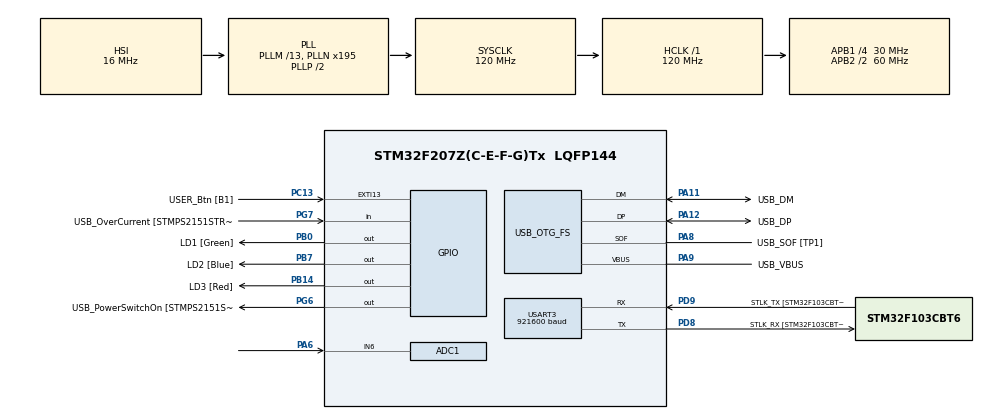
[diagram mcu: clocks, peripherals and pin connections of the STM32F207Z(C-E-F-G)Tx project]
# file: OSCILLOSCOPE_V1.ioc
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ADC1.Channel-0\#ChannelRegularConversion=ADC_CHANNEL_6
ADC1.DMAContinuousRequests=ENABLE
ADC1.ExternalTrigConv=ADC_EXTERNALTRIGCONV_T2_TRGO
ADC1.NbrOfConversionFlag=1
ADC1.Rank-0\#ChannelRegularConversion=1
ADC1.Resolution=ADC_RESOLUTION_12B
ADC1.SamplingTime-0\#ChannelRegularConversion=ADC_SAMPLETIME_3CYCLES
ADC1.master=1
Dma.ADC1.0.Direction=DMA_PERIPH_TO_MEMORY
Dma.ADC1.0.FIFOMode=DMA_FIFOMODE_DISABLE
Dma.ADC1.0.Instance=DMA2_Stream0
Dma.ADC1.0.MemDataAlignment=DMA_MDATAALIGN_HALFWORD
Dma.ADC1.0.MemInc=DMA_MINC_ENABLE
Dma.ADC1.0.Mode=DMA_CIRCULAR
Dma.ADC1.0.PeriphDataAlignment=DMA_PDATAALIGN_HALFWORD
Dma.ADC1.0.PeriphInc=DMA_PINC_DISABLE
Dma.ADC1.0.Priority=DMA_PRIORITY_LOW
Dma.Request0=ADC1
Dma.Request1=USART3_TX
Dma.USART3_TX.1.Direction=DMA_MEMORY_TO_PERIPH
Dma.USART3_TX.1.FIFOMode=DMA_FIFOMODE_DISABLE
Dma.USART3_TX.1.Instance=DMA1_Stream3
Dma.USART3_TX.1.MemDataAlignment=DMA_MDATAALIGN_BYTE
Dma.USART3_TX.1.MemInc=DMA_MINC_ENABLE
Dma.USART3_TX.1.Mode=DMA_NORMAL
Dma.USART3_TX.1.PeriphDataAlignment=DMA_PDATAALIGN_BYTE
Dma.USART3_TX.1.PeriphInc=DMA_PINC_DISABLE
Dma.USART3_TX.1.Priority=DMA_PRIORITY_LOW
Mcu.Family=STM32F2
Mcu.Name=STM32F207Z(C-E-F-G)Tx
Mcu.Package=LQFP144
NVIC.DMA1_Stream3_IRQn=true\:0\:0\:false\:false\:true\:false\:true\:true
NVIC.DMA2_Stream0_IRQn=true\:0\:0\:false\:false\:true\:false\:true\:true
NVIC.PriorityGroup=NVIC_PRIORITYGROUP_4
NVIC.USART3_IRQn=true\:0\:0\:false\:false\:true\:true\:true\:true
PA1.GPIO_Label=RMII_REF_CLK [LAN8742A-CZ-TR_REFCLK0]
PA1.Signal=ETH_REF_CLK
PA10.GPIO_Label=USB_ID
PA10.Signal=USB_OTG_FS_ID
PA11.GPIO_Label=USB_DM
PA11.Mode=Device_Only
PA11.Signal=USB_OTG_FS_DM
PA12.GPIO_Label=USB_DP
PA12.Mode=Device_Only
PA12.Signal=USB_OTG_FS_DP
PA13.GPIO_Label=TMS
PA13.Mode=Serial_Wire
PA13.Signal=SYS_JTMS-SWDIO
PA14.GPIO_Label=TCK
PA14.Mode=Serial_Wire
PA14.Signal=SYS_JTCK-SWCLK
PA2.GPIO_Label=RMII_MDIO [LAN8742A-CZ-TR_MDIO]
PA2.Signal=ETH_MDIO
PA6.Signal=ADCx_IN6
PA7.GPIO_Label=RMII_CRS_DV [LAN8742A-CZ-TR_CRS_DV]
PA7.Signal=ETH_CRS_DV
PA8.GPIO_Label=USB_SOF [TP1]
PA8.Mode=Activate_SOF_FS
PA8.Signal=USB_OTG_FS_SOF
PA9.GPIO_Label=USB_VBUS
PA9.Mode=Activate_VBUS
PA9.Signal=USB_OTG_FS_VBUS
PB0.GPIO_Label=LD1 [Green]
PB0.Signal=GPIO_Output
PB13.GPIO_Label=RMII_TXD1 [LAN8742A-CZ-TR_TXD1]
PB13.Signal=ETH_TXD1
PB14.GPIO_Label=LD3 [Red]
PB14.Signal=GPIO_Output
PB3.GPIO_Label=SWO
PB3.Signal=SYS_JTDO-SWO
PB7.GPIO_Label=LD2 [Blue]
PB7.Signal=GPIO_Output
PC1.GPIO_Label=RMII_MDC [LAN8742A-CZ-TR_MDC]
PC1.Signal=ETH_MDC
PC13.GPIO_Label=USER_Btn [B1]
PC13.Signal=GPXTI13
PC14-OSC32_IN.Mode=LSE-External-Oscillator
PC14-OSC32_IN.Signal=RCC_OSC32_IN
PC15-OSC32_OUT.Mode=LSE-External-Oscillator
PC15-OSC32_OUT.Signal=RCC_OSC32_OUT
PC4.GPIO_Label=RMII_RXD0 [LAN8742A-CZ-TR_RXD0]
PC4.Signal=ETH_RXD0
PC5.GPIO_Label=RMII_RXD1 [LAN8742A-CZ-TR_RXD1]
PC5.Signal=ETH_RXD1
PD8.GPIO_Label=STLK_RX [STM32F103CBT6_PA2]
PD8.Mode=Asynchronous
PD8.Signal=USART3_TX
PD9.GPIO_Label=STLK_TX [STM32F103CBT6_PA3]
PD9.Mode=Asynchronous
PD9.Signal=USART3_RX
PG11.GPIO_Label=RMII_TX_EN [LAN8742A-CZ-TR_TXEN]
PG11.Signal=ETH_TX_EN
PG13.GPIO_Label=RMII_TXD0 [LAN8742A-CZ-TR_TXD0]
PG13.Signal=ETH_TXD0
PG6.GPIO_Label=USB_PowerSwitchOn [STMPS2151STR_EN]
PG6.Signal=GPIO_Output
PG7.GPIO_Label=USB_OverCurrent [STMPS2151STR_FAULT]
PG7.Signal=GPIO_Input
PH0-OSC_IN.GPIO_Label=MCO [STM32F103CBT6_PA8]
PH0-OSC_IN.Mode=HSE-External-Clock-Source
PH0-OSC_IN.Signal=RCC_OSC_IN
PH1-OSC_OUT.Mode=HSE-External-Clock-Source
PH1-OSC_OUT.Signal=RCC_OSC_OUT
ProjectManager.HeapSize=0x200
ProjectManager.StackSize=0x400
ProjectManager.TargetToolchain=STM32CubeIDE
RCC.48MHZClocksFreq_Value=48000000
RCC.AHBFreq_Value=120000000
RCC.APB1CLKDivider=RCC_HCLK_DIV4
RCC.APB1Freq_Value=30000000
RCC.APB1TimFreq_Value=60000000
RCC.APB2CLKDivider=RCC_HCLK_DIV2
RCC.APB2Freq_Value=60000000
RCC.APB2TimFreq_Value=120000000
RCC.CortexFreq_Value=120000000
RCC.HCLKFreq_Value=120000000
RCC.HSE_VALUE=8000000
RCC.HSI_VALUE=16000000
RCC.PLLM=13
RCC.PLLMUL=RCC_PLL_MUL9
RCC.PLLN=195
RCC.PLLQ=5
RCC.PRESCALERUSB=RCC_USBCLKSOURCE_PLL_DIV1_5
RCC.SYSCLKFreq_VALUE=120000000
RCC.SYSCLKSource=RCC_SYSCLKSOURCE_PLLCLK
RCC.SYSCLKSourceVirtual=RCC_SYSCLKSOURCE_PLLCLK
RCC.USBFreq_Value=48000000
RCC.VCOOutputFreq_Value=240000000
SH.ADCx_IN6.0=ADC1_IN6,IN6
TIM2.Period=29
TIM2.TIM_MasterOutputTrigger=TIM_TRGO_UPDATE
USART3.BaudRate=921600
USART3.VirtualMode=VM_ASYNC
USB_OTG_FS.VirtualMode=Device_Only
VP_TIM2_VS_ClockSourceINT.Mode=Internal
board=NUCLEO-F207ZG

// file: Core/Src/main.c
/* USER CODE BEGIN Header */
/**
  ******************************************************************************
  * @file           : main.c
  * @brief          : Main program body
  ******************************************************************************
  * @attention
  *
  * Copyright (c) 2026 STMicroelectronics.
  * All rights reserved.
  *
  * This software is licensed under terms that can be found in the LICENSE file
  * in the root directory of this software component.
  * If no LICENSE file comes with this software, it is provided AS-IS.
  *
  ******************************************************************************
  */
/* USER CODE END Header */
#include "main.h"

/* USER CODE BEGIN PD */
#define ADC_BUFFER_SIZE 16384
#define SEND_SAMPLES    4096
#define TRIGGER_LEVEL 	700
#define PRE_TRIGGER 	1024
#define TRIGGER_HYST    20

/* USER CODE END PD */

ADC_HandleTypeDef hadc1;
DMA_HandleTypeDef hdma_adc1;

TIM_HandleTypeDef htim2;

UART_HandleTypeDef huart3;
DMA_HandleTypeDef hdma_usart3_tx;

PCD_HandleTypeDef hpcd_USB_OTG_FS;

/* USER CODE BEGIN PV */

uint16_t adcBuffer[ADC_BUFFER_SIZE];
uint8_t uartBuffer[SEND_SAMPLES * 2 + 2];
uint16_t capture[SEND_SAMPLES];
volatile uint8_t adcReady = 0;
volatile uint8_t adcBlock = 0;

/* USER CODE END PV */

void SystemClock_Config(void);
static void MX_GPIO_Init(void);
static void MX_DMA_Init(void);
static void MX_USART3_UART_Init(void);
static void MX_USB_OTG_FS_PCD_Init(void);
static void MX_ADC1_Init(void);
static void MX_TIM2_Init(void);
/* USER CODE BEGIN PFP */
int Find_Trigger(void);
void Send_ADC_Buffer(int trigger);
/* USER CODE END PFP */

int main(void)
{

  /* MCU Configuration--------------------------------------------------------*/

  /* Reset of all peripherals, Initializes the Flash interface and the Systick. */
  HAL_Init();

  /* Configure the system clock */
  SystemClock_Config();

  /* Initialize all configured peripherals */
  MX_GPIO_Init();
  MX_DMA_Init();
  MX_USART3_UART_Init();
  MX_USB_OTG_FS_PCD_Init();
  MX_ADC1_Init();
  MX_TIM2_Init();
  /* USER CODE BEGIN 2 */
  HAL_ADC_Start_DMA(&hadc1,
                    (uint32_t*)adcBuffer,
                    ADC_BUFFER_SIZE);

  HAL_TIM_Base_Start(&htim2);
  /* USER CODE END 2 */

  /* Infinite loop */
  /* USER CODE BEGIN WHILE */
  while (1)
  {
	  if(adcReady)
	      {
	          adcReady = 0;

	          int trigger;

	          trigger = Find_Trigger();

	          if(trigger >= 0)
	          {
	              Send_ADC_Buffer(trigger);
	          }

	          static uint32_t led_timer = 0;
	          if(HAL_GetTick() - led_timer >= 500)
	          {
	              led_timer = HAL_GetTick();
	              HAL_GPIO_TogglePin(LD1_GPIO_Port, LD1_Pin);
	          }
	      }
    /* USER CODE END WHILE */

  }
}

void SystemClock_Config(void)
{
  RCC_OscInitTypeDef RCC_OscInitStruct = {0};
  RCC_ClkInitTypeDef RCC_ClkInitStruct = {0};

  /** Initializes the RCC Oscillators according to the specified parameters
  * in the RCC_OscInitTypeDef structure.
  */
  RCC_OscInitStruct.OscillatorType = RCC_OSCILLATORTYPE_HSI;
  RCC_OscInitStruct.HSIState = RCC_HSI_ON;
  RCC_OscInitStruct.HSICalibrationValue = RCC_HSICALIBRATION_DEFAULT;
  RCC_OscInitStruct.PLL.PLLState = RCC_PLL_ON;
  RCC_OscInitStruct.PLL.PLLSource = RCC_PLLSOURCE_HSI;
  RCC_OscInitStruct.PLL.PLLM = 13;
  RCC_OscInitStruct.PLL.PLLN = 195;
  RCC_OscInitStruct.PLL.PLLP = RCC_PLLP_DIV2;
  RCC_OscInitStruct.PLL.PLLQ = 5;
  if (HAL_RCC_OscConfig(&RCC_OscInitStruct) != HAL_OK)
  {
    Error_Handler();
  }

  /** Initializes the CPU, AHB and APB buses clocks
  */
  RCC_ClkInitStruct.ClockType = RCC_CLOCKTYPE_HCLK|RCC_CLOCKTYPE_SYSCLK
                              |RCC_CLOCKTYPE_PCLK1|RCC_CLOCKTYPE_PCLK2;
  RCC_ClkInitStruct.SYSCLKSource = RCC_SYSCLKSOURCE_PLLCLK;
  RCC_ClkInitStruct.AHBCLKDivider = RCC_SYSCLK_DIV1;
  RCC_ClkInitStruct.APB1CLKDivider = RCC_HCLK_DIV4;
  RCC_ClkInitStruct.APB2CLKDivider = RCC_HCLK_DIV2;

  if (HAL_RCC_ClockConfig(&RCC_ClkInitStruct, FLASH_LATENCY_3) != HAL_OK)
  {
    Error_Handler();
  }
}

static void MX_ADC1_Init(void)
{

  ADC_ChannelConfTypeDef sConfig = {0};

  /** Configure the global features of the ADC (Clock, Resolution, Data Alignment and number of conversion)
  */
  hadc1.Instance = ADC1;
  hadc1.Init.ClockPrescaler = ADC_CLOCK_SYNC_PCLK_DIV2;
  hadc1.Init.Resolution = ADC_RESOLUTION_12B;
  hadc1.Init.ScanConvMode = DISABLE;
  hadc1.Init.ContinuousConvMode = DISABLE;
  hadc1.Init.DiscontinuousConvMode = DISABLE;
  hadc1.Init.ExternalTrigConvEdge = ADC_EXTERNALTRIGCONVEDGE_RISING;
  hadc1.Init.ExternalTrigConv = ADC_EXTERNALTRIGCONV_T2_TRGO;
  hadc1.Init.DataAlign = ADC_DATAALIGN_RIGHT;
  hadc1.Init.NbrOfConversion = 1;
  hadc1.Init.DMAContinuousRequests = ENABLE;
  hadc1.Init.EOCSelection = ADC_EOC_SINGLE_CONV;
  if (HAL_ADC_Init(&hadc1) != HAL_OK)
  {
    Error_Handler();
  }

  /** Configure for the selected ADC regular channel its corresponding rank in the sequencer and its sample time.
  */
  sConfig.Channel = ADC_CHANNEL_6;
  sConfig.Rank = 1;
  sConfig.SamplingTime = ADC_SAMPLETIME_3CYCLES;
  if (HAL_ADC_ConfigChannel(&hadc1, &sConfig) != HAL_OK)
  {
    Error_Handler();
  }

}

static void MX_TIM2_Init(void)
{

  TIM_ClockConfigTypeDef sClockSourceConfig = {0};
  TIM_MasterConfigTypeDef sMasterConfig = {0};

  htim2.Instance = TIM2;
  htim2.Init.Prescaler = 0;
  htim2.Init.CounterMode = TIM_COUNTERMODE_UP;
  htim2.Init.Period = 29;
  htim2.Init.ClockDivision = TIM_CLOCKDIVISION_DIV1;
  htim2.Init.AutoReloadPreload = TIM_AUTORELOAD_PRELOAD_DISABLE;
  if (HAL_TIM_Base_Init(&htim2) != HAL_OK)
  {
    Error_Handler();
  }
  sClockSourceConfig.ClockSource = TIM_CLOCKSOURCE_INTERNAL;
  if (HAL_TIM_ConfigClockSource(&htim2, &sClockSourceConfig) != HAL_OK)
  {
    Error_Handler();
  }
  sMasterConfig.MasterOutputTrigger = TIM_TRGO_UPDATE;
  sMasterConfig.MasterSlaveMode = TIM_MASTERSLAVEMODE_DISABLE;
  if (HAL_TIMEx_MasterConfigSynchronization(&htim2, &sMasterConfig) != HAL_OK)
  {
    Error_Handler();
  }

}

static void MX_USART3_UART_Init(void)
{

  huart3.Instance = USART3;
  huart3.Init.BaudRate = 921600;
  huart3.Init.WordLength = UART_WORDLENGTH_8B;
  huart3.Init.StopBits = UART_STOPBITS_1;
  huart3.Init.Parity = UART_PARITY_NONE;
  huart3.Init.Mode = UART_MODE_TX_RX;
  huart3.Init.HwFlowCtl = UART_HWCONTROL_NONE;
  huart3.Init.OverSampling = UART_OVERSAMPLING_16;
  if (HAL_UART_Init(&huart3) != HAL_OK)
  {
    Error_Handler();
  }

}

static void MX_USB_OTG_FS_PCD_Init(void)
{

  hpcd_USB_OTG_FS.Instance = USB_OTG_FS;
  hpcd_USB_OTG_FS.Init.dev_endpoints = 4;
  hpcd_USB_OTG_FS.Init.speed = PCD_SPEED_FULL;
  hpcd_USB_OTG_FS.Init.dma_enable = DISABLE;
  hpcd_USB_OTG_FS.Init.phy_itface = PCD_PHY_EMBEDDED;
  hpcd_USB_OTG_FS.Init.Sof_enable = ENABLE;
  hpcd_USB_OTG_FS.Init.low_power_enable = DISABLE;
  hpcd_USB_OTG_FS.Init.vbus_sensing_enable = ENABLE;
  hpcd_USB_OTG_FS.Init.use_dedicated_ep1 = DISABLE;
  if (HAL_PCD_Init(&hpcd_USB_OTG_FS) != HAL_OK)
  {
    Error_Handler();
  }

}

static void MX_DMA_Init(void)
{

  /* DMA controller clock enable */
  __HAL_RCC_DMA2_CLK_ENABLE();
  __HAL_RCC_DMA1_CLK_ENABLE();

  /* DMA interrupt init */
  /* DMA1_Stream3_IRQn interrupt configuration */
  HAL_NVIC_SetPriority(DMA1_Stream3_IRQn, 0, 0);
  HAL_NVIC_EnableIRQ(DMA1_Stream3_IRQn);
  /* DMA2_Stream0_IRQn interrupt configuration */
  HAL_NVIC_SetPriority(DMA2_Stream0_IRQn, 0, 0);
  HAL_NVIC_EnableIRQ(DMA2_Stream0_IRQn);

}

static void MX_GPIO_Init(void)
{
  GPIO_InitTypeDef GPIO_InitStruct = {0};

  /* GPIO Ports Clock Enable */
  __HAL_RCC_GPIOC_CLK_ENABLE();
  __HAL_RCC_GPIOH_CLK_ENABLE();
  __HAL_RCC_GPIOA_CLK_ENABLE();
  __HAL_RCC_GPIOB_CLK_ENABLE();
  __HAL_RCC_GPIOD_CLK_ENABLE();
  __HAL_RCC_GPIOG_CLK_ENABLE();

  /*Configure GPIO pin Output Level */
  HAL_GPIO_WritePin(GPIOB, LD1_Pin|LD3_Pin|LD2_Pin, GPIO_PIN_RESET);

  /*Configure GPIO pin Output Level */
  HAL_GPIO_WritePin(USB_PowerSwitchOn_GPIO_Port, USB_PowerSwitchOn_Pin, GPIO_PIN_RESET);

  /*Configure GPIO pin : USER_Btn_Pin */
  GPIO_InitStruct.Pin = USER_Btn_Pin;
  GPIO_InitStruct.Mode = GPIO_MODE_IT_RISING;
  GPIO_InitStruct.Pull = GPIO_NOPULL;
  HAL_GPIO_Init(USER_Btn_GPIO_Port, &GPIO_InitStruct);

  /*Configure GPIO pins : RMII_MDC_Pin RMII_RXD0_Pin RMII_RXD1_Pin */
  GPIO_InitStruct.Pin = RMII_MDC_Pin|RMII_RXD0_Pin|RMII_RXD1_Pin;
  GPIO_InitStruct.Mode = GPIO_MODE_AF_PP;
  GPIO_InitStruct.Pull = GPIO_NOPULL;
  GPIO_InitStruct.Speed = GPIO_SPEED_FREQ_VERY_HIGH;
  GPIO_InitStruct.Alternate = GPIO_AF11_ETH;
  HAL_GPIO_Init(GPIOC, &GPIO_InitStruct);

  /*Configure GPIO pins : RMII_REF_CLK_Pin RMII_MDIO_Pin RMII_CRS_DV_Pin */
  GPIO_InitStruct.Pin = RMII_REF_CLK_Pin|RMII_MDIO_Pin|RMII_CRS_DV_Pin;
  GPIO_InitStruct.Mode = GPIO_MODE_AF_PP;
  GPIO_InitStruct.Pull = GPIO_NOPULL;
  GPIO_InitStruct.Speed = GPIO_SPEED_FREQ_VERY_HIGH;
  GPIO_InitStruct.Alternate = GPIO_AF11_ETH;
  HAL_GPIO_Init(GPIOA, &GPIO_InitStruct);

  /*Configure GPIO pins : LD1_Pin LD3_Pin LD2_Pin */
  GPIO_InitStruct.Pin = LD1_Pin|LD3_Pin|LD2_Pin;
  GPIO_InitStruct.Mode = GPIO_MODE_OUTPUT_PP;
  GPIO_InitStruct.Pull = GPIO_NOPULL;
  GPIO_InitStruct.Speed = GPIO_SPEED_FREQ_LOW;
  HAL_GPIO_Init(GPIOB, &GPIO_InitStruct);

  /*Configure GPIO pin : RMII_TXD1_Pin */
  GPIO_InitStruct.Pin = RMII_TXD1_Pin;
  GPIO_InitStruct.Mode = GPIO_MODE_AF_PP;
  GPIO_InitStruct.Pull = GPIO_NOPULL;
  GPIO_InitStruct.Speed = GPIO_SPEED_FREQ_VERY_HIGH;
  GPIO_InitStruct.Alternate = GPIO_AF11_ETH;
  HAL_GPIO_Init(RMII_TXD1_GPIO_Port, &GPIO_InitStruct);

  /*Configure GPIO pin : USB_PowerSwitchOn_Pin */
  GPIO_InitStruct.Pin = USB_PowerSwitchOn_Pin;
  GPIO_InitStruct.Mode = GPIO_MODE_OUTPUT_PP;
  GPIO_InitStruct.Pull = GPIO_NOPULL;
  GPIO_InitStruct.Speed = GPIO_SPEED_FREQ_LOW;
  HAL_GPIO_Init(USB_PowerSwitchOn_GPIO_Port, &GPIO_InitStruct);

  /*Configure GPIO pin : USB_OverCurrent_Pin */
  GPIO_InitStruct.Pin = USB_OverCurrent_Pin;
  GPIO_InitStruct.Mode = GPIO_MODE_INPUT;
  GPIO_InitStruct.Pull = GPIO_NOPULL;
  HAL_GPIO_Init(USB_OverCurrent_GPIO_Port, &GPIO_InitStruct);

  /*Configure GPIO pins : RMII_TX_EN_Pin RMII_TXD0_Pin */
  GPIO_InitStruct.Pin = RMII_TX_EN_Pin|RMII_TXD0_Pin;
  GPIO_InitStruct.Mode = GPIO_MODE_AF_PP;
  GPIO_InitStruct.Pull = GPIO_NOPULL;
  GPIO_InitStruct.Speed = GPIO_SPEED_FREQ_VERY_HIGH;
  GPIO_InitStruct.Alternate = GPIO_AF11_ETH;
  HAL_GPIO_Init(GPIOG, &GPIO_InitStruct);

}

/* USER CODE BEGIN 4 */
int Find_Trigger(void)
{
    int half_start = (adcBlock == 0) ? 0 : ADC_BUFFER_SIZE / 2;
    int search_end = ADC_BUFFER_SIZE / 2 - (SEND_SAMPLES - PRE_TRIGGER);

    static uint8_t armed = 1;

    for (int i = PRE_TRIGGER + 1; i < search_end; i++)
    {
        int index = half_start + i;

        uint16_t prev   = adcBuffer[index - 1];
        uint16_t sample = adcBuffer[index];

        if (!armed)
        {
            if (sample < (TRIGGER_LEVEL - TRIGGER_HYST))
                armed = 1;
        }
        else
        {
            if (prev < TRIGGER_LEVEL &&
                sample >= TRIGGER_LEVEL)
            {
                armed = 0;
                return index;
            }
        }
    }

    return -1;
}

void Send_ADC_Buffer(int trigger)
{
    int start = trigger - PRE_TRIGGER;

    if(start < 0)
        start += ADC_BUFFER_SIZE;

    for(int i=0;i<SEND_SAMPLES;i++)
    {
        int index = start + i;

        while(index >= ADC_BUFFER_SIZE)
        {
            index -= ADC_BUFFER_SIZE;
        }

        capture[i] = adcBuffer[index];
    }

    uartBuffer[0]=0xAA;
    uartBuffer[1]=0x55;

    for(int i=0;i<SEND_SAMPLES;i++)
    {
        uartBuffer[2+i*2]=capture[i]&0xff;
        uartBuffer[3+i*2]=capture[i]>>8;
    }
    HAL_UART_Transmit_DMA(&huart3, uartBuffer, SEND_SAMPLES*2+2);

}

void HAL_ADC_ConvHalfCpltCallback(ADC_HandleTypeDef *hadc)
{
    if(hadc->Instance == ADC1)
    {
        adcBlock = 0;
        adcReady = 1;
    }
}

void HAL_ADC_ConvCpltCallback(ADC_HandleTypeDef *hadc)
{
    if(hadc->Instance == ADC1)
    {
        adcBlock = 1;
        adcReady = 1;
    }
}
/* USER CODE END 4 */

void Error_Handler(void)
{
  /* USER CODE BEGIN Error_Handler_Debug */
	HAL_GPIO_WritePin(LD3_GPIO_Port,
	                      LD3_Pin,
	                      GPIO_PIN_SET);
  /* User can add his own implementation to report the HAL error return state */
  __disable_irq();
  while (1)
  {
  }
  /* USER CODE END Error_Handler_Debug */
}
